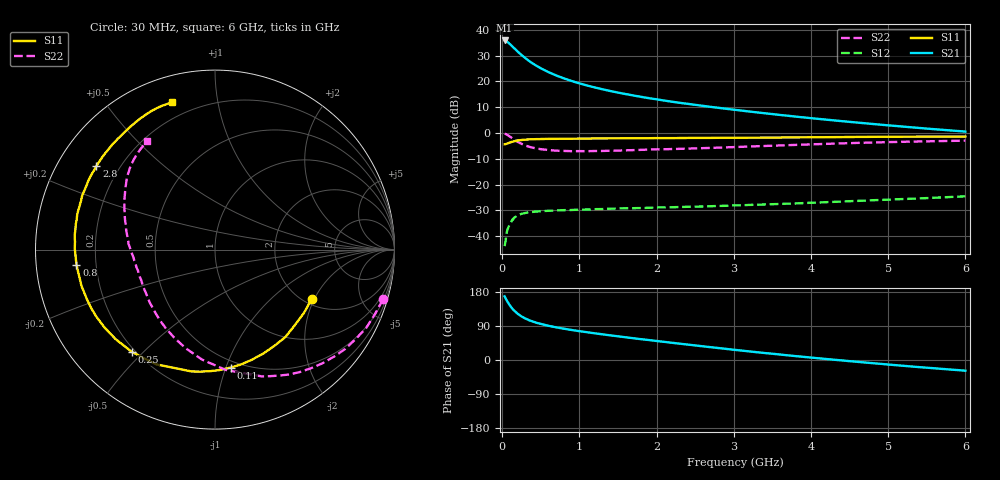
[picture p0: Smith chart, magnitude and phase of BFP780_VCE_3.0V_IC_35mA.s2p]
! Infineon Technologies  Discrete & RF Semiconductors
! BFP780
! VCE =  3.0 V,  IC =  35 mA
! Common Emitter S-Parameters:  Jul 2015
# GHz  S  MA  R  50
!  f  S11  S21  S12  S22
! GHz  MAG  ANG  MAG  ANG  MAG  ANG  MAG  ANG
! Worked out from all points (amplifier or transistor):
!   75 points, 30 MHz to 6 GHz, reference 50 ohm
!   highest |S21| = 35.9 dB at 30 MHz (marker M1)
!   |S21| within 3 dB of that: start of sweep to 154.2 MHz
!   unconditionally stable (mu >= 1): 2.132 GHz to end of sweep
!   at 150 MHz: K = 0.11, MSG = 33.0 dB, |S12| = -32.9 dB
!   at 2.3 GHz: K = 1.05, MAG = 18.8 dB, |S12| = -28.7 dB
!   at 6 GHz: K = 1.34, MAG = 9.1 dB, |S12| = -24.6 dB
!   S11 on the Smith chart (normalised r, x): 30 MHz: 2.22, -1.91; 110 MHz: 0.44, -1.04; 250 MHz: 0.19, -0.46; 800 MHz: 0.13, -0.05; 2.8 GHz: 0.12, +0.31; 6 GHz: 0.12, +0.74
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0.03  0.605 -26.8  62.46 168.0  0.0064 75.4  0.9761 -16.5
0.05  0.6126 -43.5  60.47 160.0  0.0098 69.7  0.9486 -27.4
0.07  0.6299 -58.2  57.73 153.0  0.0137 63.4  0.9127 -37.3
0.09  0.6467 -71.3  54.52 146.5  0.0162 58.3  0.8717 -46.6
0.11  0.6631 -82.5  51.17 140.7  0.0185 51.2  0.8303 -55.2
0.13  0.6781 -92.6  47.99 135.6  0.021 50.3  0.7888 -62.8
0.15  0.6914 -101.0  44.84 131.1  0.0226 46.2  0.7525 -69.8
0.2  0.7188 -117.3  37.96 121.9  0.0254 38.8  0.6736 -84.8
0.25  0.7345 -129.1  32.55 114.8  0.0271 32.7  0.6168 -96.8
0.3  0.7454 -138.0  28.21 109.3  0.0282 28.7  0.5723 -106.8
0.35  0.7533 -144.9  24.8 104.8  0.0292 25.9  0.5404 -114.9
0.45  0.763 -154.7  19.85 97.9  0.0301 22.1  0.5005 -127.5
0.6  0.771 -164.8  15.16 90.2  0.0311 18.6  0.4681 -141.0
0.8  0.7764 -173.7  11.46 82.6  0.032 16.5  0.4502 -152.8
1.1  0.7813 176.8  8.338 73.2  0.0329 15.3  0.4449 -164.7
1.5  0.7886 167.7  6.086 62.5  0.0344 14.8  0.4567 -174.7
2.1  0.7988 156.4  4.264 47.8  0.0361 15.2  0.485 174.7
2.8  0.8082 144.8  3.085 31.6  0.0386 16.0  0.521 163.3
3.1  0.8127 140.1  2.724 24.9  0.0396 16.5  0.541 158.5
4.1  0.8289 125.9  1.88 4.5  0.0449 16.5  0.6098 144.8
5.1  0.8501 114.5  1.371 -13.7  0.052 14.8  0.6718 132.8
6  0.8544 106.3  1.067 -28.3  0.0592 11.2  0.7124 122.2
